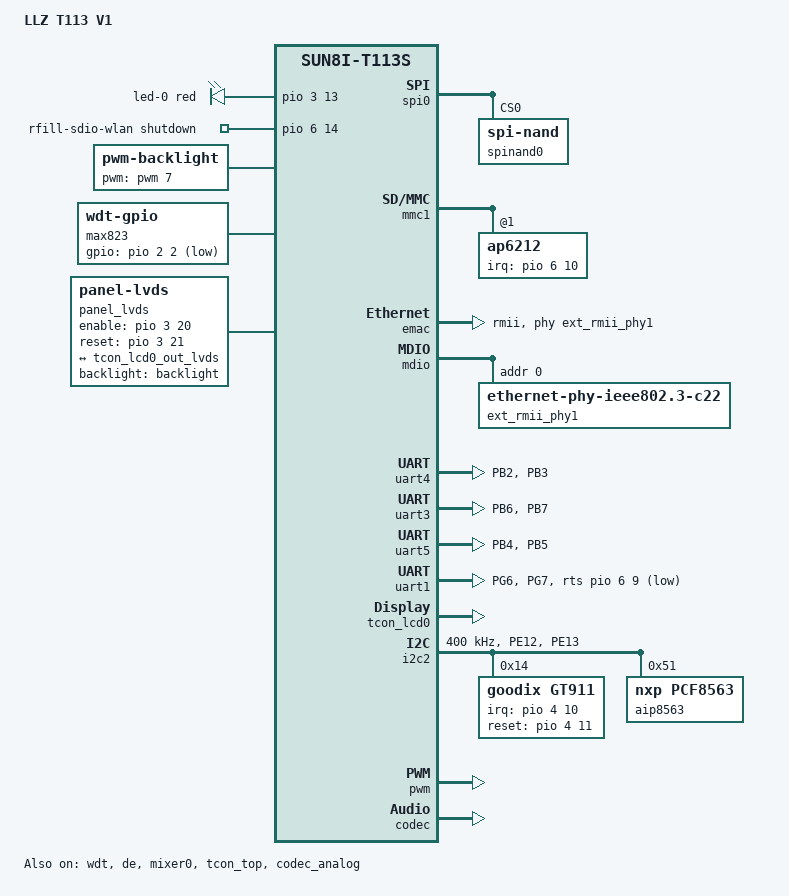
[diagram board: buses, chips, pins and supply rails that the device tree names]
// SPDX-License-Identifier: (GPL-2.0+ OR MIT)
// Copyright (C) 2022 Arm Ltd.

#include <dt-bindings/interrupt-controller/irq.h>

/dts-v1/;

#include "sun8i-t113s.dtsi"
#include "sunxi-d1s-t113-mangopi-mq-r.dtsi"

/ {
	model = "LLZ T113 V1";
	compatible = "widora,mangopi-mq-r-t113", "allwinner,sun8i-t113s";

	chosen {
		stdout-path = "serial3:115200n8";
		bootargs = "root=/dev/mmcblk0p2 rootwait rw";
	};

	aliases {
		/* ethernet0 = &rtl8189ftv; */
		serial0 = &uart0;
		serial1 = &uart1;
		serial2 = &uart2;
		serial3 = &uart3;
		serial4 = &uart4;
		serial5 = &uart5;
		i2c2 = &i2c2;
		watchdog0 = &max823;
		watchdog1 = &wdt;
	};

	leds {
		/delete-node/ led-0;

		led-0 {
			gpios = <&pio 3 13 GPIO_ACTIVE_HIGH>;
			color = <LED_COLOR_ID_RED>;
			function = LED_FUNCTION_HEARTBEAT;
			linux,default-trigger = "heartbeat";
		};
	};

	rfkill_wifi {
		compatible = "rfkill-gpio";
		label = "rfill-sdio-wlan";
		radio-type = "wlan";
		shutdown-gpios = <&pio 6 14 GPIO_ACTIVE_HIGH>;
	};

};

&cpu0 {
	cpu-supply = <&reg_vcc_core>;
};

&cpu1 {
	cpu-supply = <&reg_vcc_core>;
};

&spi0 {
	pinctrl-names = "default";
	pinctrl-0 = <&spi0_pins>;
	status = "okay";

	spinand0: spinand@0 {
		compatible = "spi-nand";
		reg = <0>;
		status = "okay";
	};
};

&mmc1 {
	/delete-property/ mmc-pwrseq;

	ap6212: wifi@1 {
		compatible = "ap6212";
		reg = <1>;
		interrupt-parent = <&pio>;
		interrupts = <6 10 IRQ_TYPE_LEVEL_LOW>; /* PG10 = WL_WAKE_AP */
		interrupt-names = "host-wake";
	};
};

&emac {
	pinctrl-names = "default";
	pinctrl-0 = <&rmii_pe_pins>;
	status = "okay";
	phy-mode = "rmii";
	phy-handle = <&ext_rmii_phy1>;
	/* phy-supply = <&reg_dc1sw>; */
};

&mdio {
	ext_rmii_phy1: ethernet-phy@0 {
		compatible = "ethernet-phy-ieee802.3-c22";
		reg = <0>;
	};
};

&uart4 {
	pinctrl-names = "default";
	pinctrl-0 = <&uart4_pb_pins>;
	status = "okay";
};

&uart3 {
	pinctrl-names = "default";
	pinctrl-0 = <&uart3_pb_pins>;
	status = "okay";
};

&uart5 {
	pinctrl-names = "default";
	pinctrl-0 = <&uart5_pb_pins>;
	status = "okay";
};

&uart1 {
	pinctrl-names = "default";
	pinctrl-0 = <&uart1_pg_pins>;
	rts-gpios = <&pio 6 9 GPIO_ACTIVE_LOW>;
	/* rs485-rts-active-low; */
	linux,rs485-enabled-at-boot-time;
	/* rs485-rts-delay = <1 1>; */
	status = "okay";
};

&pio {
	/omit-if-no-ref/
	uart3_pb_pins: uart3-pb-pins {
		pins = "PB6", "PB7";
		function = "uart3";
	};

	uart1_pg_pins: uart1-pg-pins {
		pins = "PG6", "PG7";
		function = "uart1";
	};

	/omit-if-no-ref/
	uart4_pb_pins: uart4-pb-pins {
		pins = "PB2", "PB3";
		function = "uart4";
	};

	/omit-if-no-ref/
	uart5_pb_pins: uart5-pb-pins {
		pins = "PB4", "PB5";
		function = "uart5";
	};

	/omit-if-no-ref/
	i2c2_pe_pins: i2c2-pe-pins {
		pins = "PE12", "PE13";
		function = "i2c2";
	};

	/omit-if-no-ref/
	pwm7_pins: pwm7-pins {
		pins = "PD22";
		function = "pwm7";
	};

	/omit-if-no-ref/
	uart0_pe_pins: uart0-pe-pins {
		pins = "PE2", "PE3";
		function = "uart0";
	};

	/omit-if-no-ref/
	uart1_pe_pins: uart1-pe-pins {
		pins = "PE10", "PE11";
		function = "uart1";
	};

	/omit-if-no-ref/
	uart4_pe_pins: uart4-pe-pins {
		pins = "PE4", "PE5";
		function = "uart4";
	};
};

&rtc {
	status = "disabled";
};
&wdt {
	status = "okay";
};

&de {
	status = "okay";
};

&mixer0 {
	status = "okay";
};

&tcon_top {
	status = "okay";
};

&tcon_lcd0 {
	status = "okay";
};

/ {
	backlight: lvds-backlight {
		compatible = "pwm-backlight";
		pwms = <&pwm 7 5000000 0>;
		pwm-names = "backlight";
		pinctrl-names = "default";
		pinctrl-0 = <&pwm7_pins>;
		brightness-levels = <0 100>;
		num-interpolated-steps = <100>;
		default-brightness-level = <50>;
	};

	max823: max823-watchdog {
		compatible = "linux,wdt-gpio";
		gpios = <&pio 2 2 GPIO_ACTIVE_LOW>;
		hw_algo = "toggle";
		hw_margin_ms = <1600>;
	};

	panel_lvds: panel-lvds {
		compatible = "panel-lvds";
		pinctrl-names = "default";
		pinctrl-0 = <&lvds0_pins>;
		enable-gpios = <&pio 3 20 GPIO_ACTIVE_HIGH>;
		reset-gpios = <&pio 3 21 GPIO_ACTIVE_HIGH>;
		width-mm = <246>;
		height-mm = <184>;
		data-mapping = "vesa-24";
		backlight = <&backlight>;

		panel-timing {
			clock-frequency = <45000000>;
			hactive = <1024>;
			vactive = <600>;
			hback-porch = <88>;
			hfront-porch = <40>;
			vback-porch = <21>;
			vfront-porch = <12>;
			hsync-len = <48>;
			vsync-len = <11>;
		};

		port@0 {
			panel_in: endpoint@0 {
				remote-endpoint = <&tcon_lcd0_out_lvds>;
			};
		};

	};
};

&tcon_lcd0_out {
	tcon_lcd0_out_lvds: endpoint@0 {
		remote-endpoint = <&panel_in>;
	};
};


&i2c2 {
	status = "okay";
	pinctrl-names = "default";
	pinctrl-0 = <&i2c2_pe_pins>;
	clock-frequency = <400000>;

	gt911: gt911@14 {
		compatible = "goodix,gt911";
		reg = <0x14>;
		interrupt-parent = <&pio>;
		irq-gpios = <&pio 4 10 GPIO_ACTIVE_HIGH>;
		touchscreen-size-x = <1024>;
		touchscreen-size-y = <600>;
		interrupts = <4 10 IRQ_TYPE_EDGE_FALLING>;
		reset-gpios = <&pio 4 11 GPIO_ACTIVE_HIGH>;
		wakeup-source;
	};

	aip8563: aip8563@51 {
		compatible = "nxp,pcf8563","aiptek,aip8563";
		reg = <0x51>;
	};
};

&pwm {
	status = "okay";
};

/*
* - HP
* - LINEIN
* - MIC3
* - MBIAS
* - Headphone
* - Headset Mic
* - Line In
* - Line Out
* - Mic
* - Speaker
*/
&codec {
	status = "okay";
	allwinner,audio-routing =
		"Headphone","HP",
		"Speaker", "HP";

	allwinner,pa-gpios = <&pio 6 10 GPIO_ACTIVE_HIGH>;
};

&codec_analog {
	status = "okay";
};
